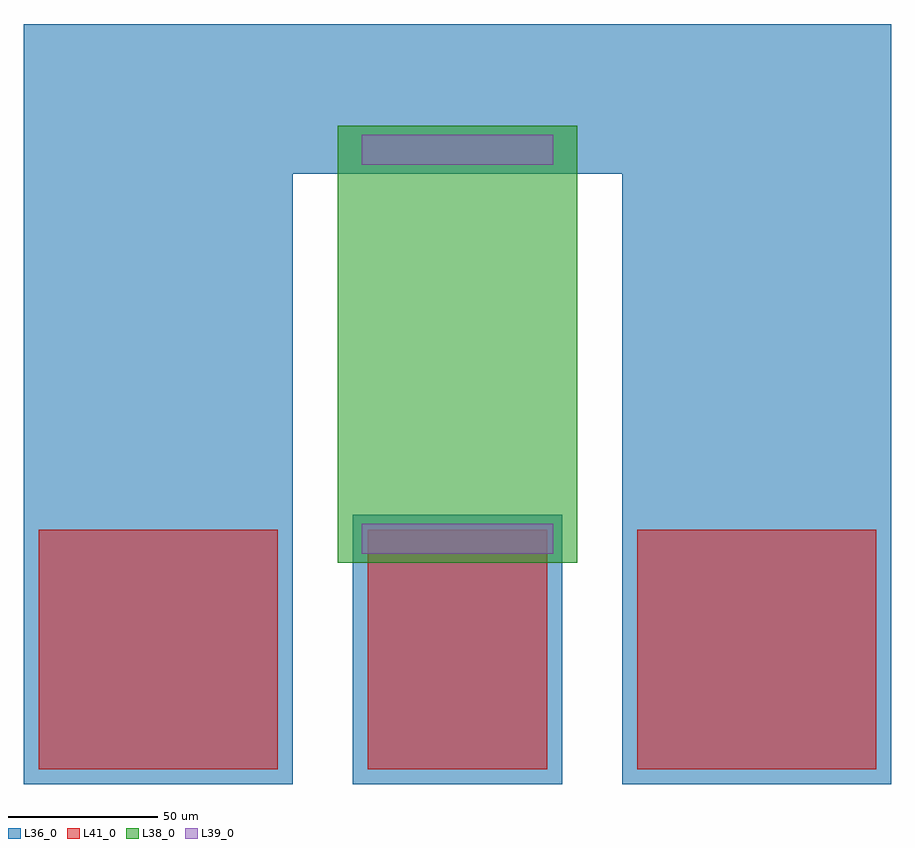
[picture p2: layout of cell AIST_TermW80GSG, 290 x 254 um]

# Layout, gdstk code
import gdstk
lib = gdstk.Library(unit=1e-6, precision=1e-09)
def R(c, l, rs):  # rectangles x0, y0, x1, y1
    for r in rs: c.add(gdstk.rectangle(r[:2], r[2:], *l))
L36_0 = (36, 0)
L38_0 = (38, 0)
L39_0 = (39, 0)
L41_0 = (41, 0)

aist_termw80gsg = lib.new_cell('AIST_TermW80GSG')
R(aist_termw80gsg, L36_0, [(0,0,90,90), (0,0,90,90), (110,0,180,90), (200,0,290,90), (0,90,90,204), (200,90,290,204), (0,204,290,254)])
R(aist_termw80gsg, L38_0, [(105,74,185,220)])
R(aist_termw80gsg, L39_0, [(113,77,177,87), (113,207,177,217)])
R(aist_termw80gsg, L41_0, [(5,5,85,85), (5,5,85,85), (115,5,175,85), (205,5,285,85)])

lib.write_gds('AIST_TermW80GSG.gds')
